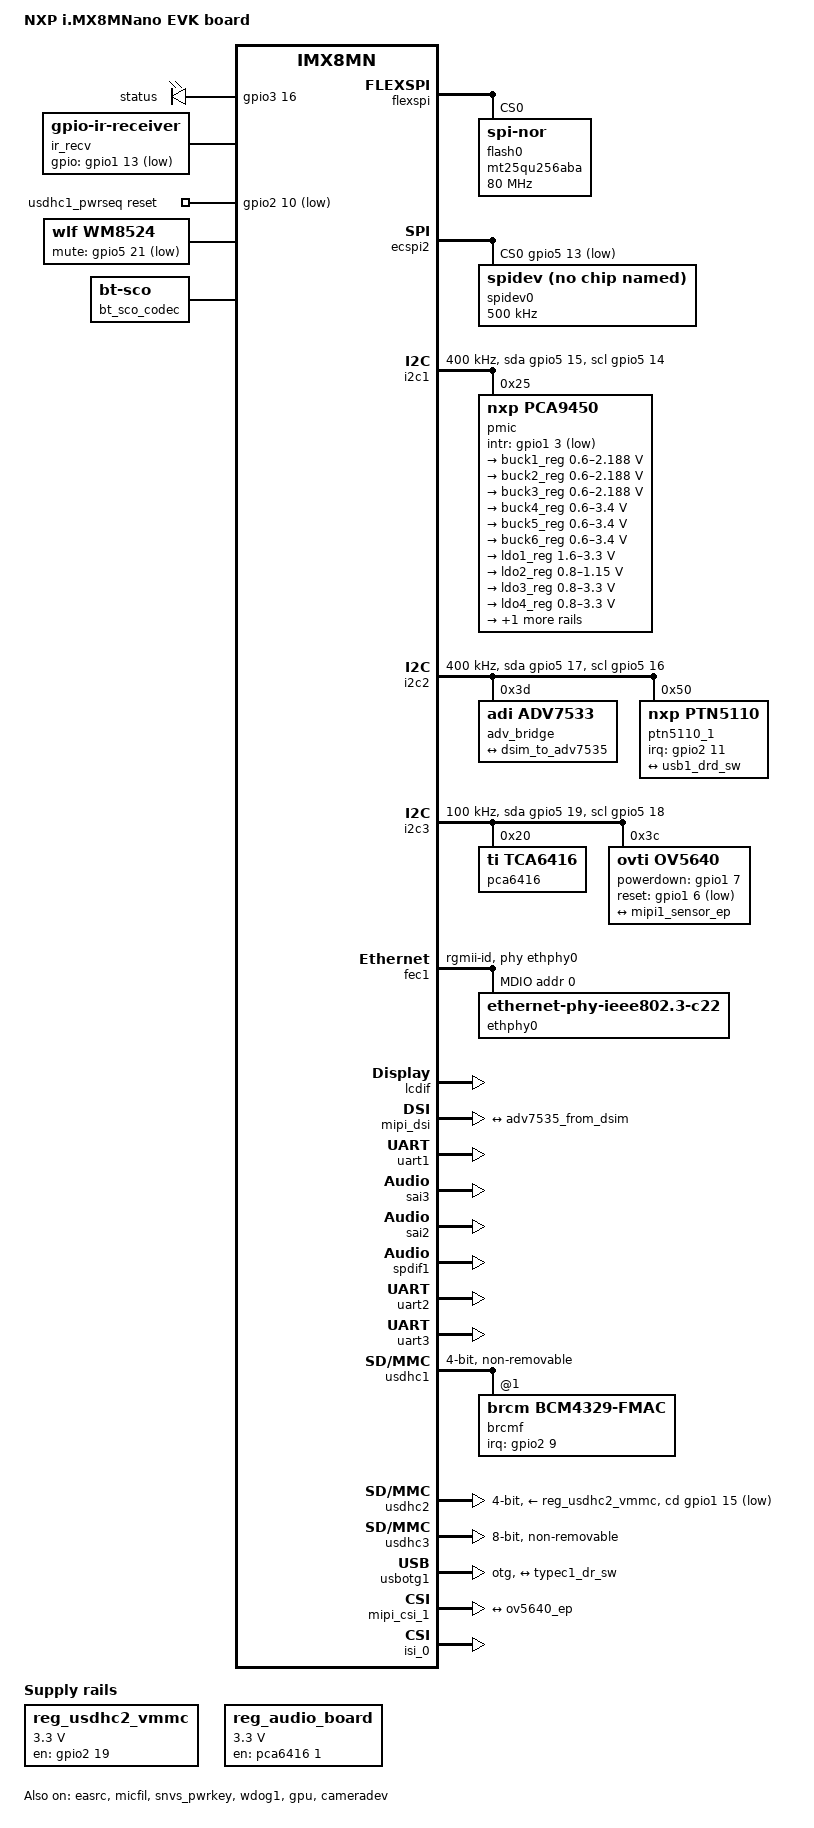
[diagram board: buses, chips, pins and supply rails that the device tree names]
/*
 * Copyright 2019 NXP
 *
 * This program is free software; you can redistribute it and/or
 * modify it under the terms of the GNU General Public License
 * as published by the Free Software Foundation; either version 2
 * of the License, or (at your option) any later version.
 *
 * This program is distributed in the hope that it will be useful,
 * but WITHOUT ANY WARRANTY; without even the implied warranty of
 * MERCHANTABILITY or FITNESS FOR A PARTICULAR PURPOSE.  See the
 * GNU General Public License for more details.
 */

/dts-v1/;

#include <dt-bindings/usb/pd.h>
#include "imx8mn.dtsi"

/ {
	trusty {
		compatible = "android,trusty-smc-v1";
		ranges;
		#address-cells = <2>;
		#size-cells = <2>;
		trusty-irq {
			compatible = "android,trusty-irq-v1";
			interrupt-templates = <&trusty_ipi 0>;
			interrupt-ranges = < 0 15 0>;
		};
		trusty-virtio {
			compatible = "android,trusty-virtio-v1";
		};
		trusty-log {
			compatible = "android,trusty-log-v1";
		};
	};
	trusty_ipi: interrupt-controller@0 {
		compatible = "android,CustomIPI";
		interrupt-controller;
		#interrupt-cells = <1>;
	};
};

/ {
	model = "NXP i.MX8MNano EVK board";
	compatible = "fsl,imx8mn-evk", "fsl,imx8mn";

	chosen {
		bootargs = "console=ttymxc1,115200 earlycon=ec_imx6q,0x30890000,115200";
		stdout-path = &uart2;
	};

	leds {
		compatible = "gpio-leds";
		pinctrl-names = "default";
		pinctrl-0 = <&pinctrl_gpio_led>;

		status {
			label = "status";
			gpios = <&gpio3 16 GPIO_ACTIVE_HIGH>;
			default-state = "on";
		};
	};

	ir_recv: ir-receiver {
		compatible = "gpio-ir-receiver";
		gpios = <&gpio1 13 GPIO_ACTIVE_LOW>;
		pinctrl-names = "default";
		pinctrl-0 = <&pinctrl_ir_recv>;
	};

	usdhc1_pwrseq: usdhc1_pwrseq {
		compatible = "mmc-pwrseq-simple";
		pinctrl-names = "default";
		pinctrl-0 = <&pinctrl_usdhc1_gpio>;
		reset-gpios = <&gpio2 10 GPIO_ACTIVE_LOW>;
	};

	regulators {
		compatible = "simple-bus";
		#address-cells = <1>;
		#size-cells = <0>;

		reg_usdhc2_vmmc: regulator-usdhc2 {
			compatible = "regulator-fixed";
			regulator-name = "VSD_3V3";
			regulator-min-microvolt = <3300000>;
			regulator-max-microvolt = <3300000>;
			gpio = <&gpio2 19 GPIO_ACTIVE_HIGH>;
			enable-active-high;
			startup-delay-us = <100>;
			off-on-delay-us = <12000>;
		};

		reg_audio_board: regulator-audio-board {
			compatible = "regulator-fixed";
			regulator-name = "EXT_PWREN";
			regulator-min-microvolt = <3300000>;
			regulator-max-microvolt = <3300000>;
			enable-active-high;
			startup-delay-us = <300000>;
			gpio = <&pca6416 1 GPIO_ACTIVE_HIGH>;
			regulator-always-on;
		};
	};

	wm8524: wm8524 {
		compatible = "wlf,wm8524";
		clocks = <&clk IMX8MN_CLK_SAI3_ROOT>;
		clock-names = "mclk";
		wlf,mute-gpios = <&gpio5 21 GPIO_ACTIVE_LOW>;
	};

	bt_sco_codec: bt_sco_codec {
		#sound-dai-cells = <1>;
		compatible = "linux,bt-sco";
	};

	sound-bt-sco {
		compatible = "simple-audio-card";
		simple-audio-card,name = "bt-sco-audio";
		simple-audio-card,format = "dsp_a";
		simple-audio-card,bitclock-inversion;
		simple-audio-card,frame-master = <&btcpu>;
		simple-audio-card,bitclock-master = <&btcpu>;

		btcpu: simple-audio-card,cpu {
			sound-dai = <&sai2>;
			dai-tdm-slot-num = <2>;
			dai-tdm-slot-width = <16>;
		};

		simple-audio-card,codec {
			sound-dai = <&bt_sco_codec 1>;
		};
	};

	sound-wm8524 {
		compatible = "fsl,imx-audio-wm8524";
		model = "wm8524-audio";
		audio-cpu = <&sai3>;
		audio-codec = <&wm8524>;
		audio-routing =
			"Line Out Jack", "LINEVOUTL",
			"Line Out Jack", "LINEVOUTR";
		asrc-controller = <&easrc>;
	};

	sound-micfil {
		compatible = "fsl,imx-audio-micfil";
		model = "imx-audio-micfil";
		cpu-dai = <&micfil>;
	};

	sound-spdif {
		compatible = "fsl,imx-audio-spdif";
		model = "imx-spdif";
		spdif-controller = <&spdif1>;
		spdif-out;
		spdif-in;
	};

	sound-ak5558 {
		compatible = "fsl,imx-audio-ak5558";
		model = "ak5558-audio";
		audio-cpu = <&sai5>;
		audio-codec = <&ak5558>;
		status = "disabled";
	};
};

&A53_0 {
	cpu-supply = <&buck2_reg>;
};

&clk {
	assigned-clocks = <&clk IMX8MN_AUDIO_PLL1>, <&clk IMX8MN_AUDIO_PLL2>;
	assigned-clock-rates = <393216000>, <361267200>;
};

&easrc {
	fsl,asrc-rate  = <48000>;
	status = "okay";
};

&iomuxc {
	pinctrl-names = "default";
	pinctrl-0 = <&pinctrl_hog_1>;

	imx8mn-evk {
		pinctrl_hog_1: hoggrp-1 {
			fsl,pins = <
				MX8MN_IOMUXC_GPIO1_IO08_GPIO1_IO8		0x16
			>;
		};

		pinctrl_ir_recv: ir-recv {
			fsl,pins = <
				MX8MN_IOMUXC_GPIO1_IO13_GPIO1_IO13		0x4f
			>;
		};

		pinctrl_fec1: fec1grp {
			fsl,pins = <
				MX8MN_IOMUXC_ENET_MDC_ENET1_MDC		0x3
				MX8MN_IOMUXC_ENET_MDIO_ENET1_MDIO	0x3
				MX8MN_IOMUXC_ENET_TD3_ENET1_RGMII_TD3	0x1f
				MX8MN_IOMUXC_ENET_TD2_ENET1_RGMII_TD2	0x1f
				MX8MN_IOMUXC_ENET_TD1_ENET1_RGMII_TD1	0x1f
				MX8MN_IOMUXC_ENET_TD0_ENET1_RGMII_TD0	0x1f
				MX8MN_IOMUXC_ENET_RD3_ENET1_RGMII_RD3	0x91
				MX8MN_IOMUXC_ENET_RD2_ENET1_RGMII_RD2	0x91
				MX8MN_IOMUXC_ENET_RD1_ENET1_RGMII_RD1	0x91
				MX8MN_IOMUXC_ENET_RD0_ENET1_RGMII_RD0	0x91
				MX8MN_IOMUXC_ENET_TXC_ENET1_RGMII_TXC	0x1f
				MX8MN_IOMUXC_ENET_RXC_ENET1_RGMII_RXC	0x91
				MX8MN_IOMUXC_ENET_RX_CTL_ENET1_RGMII_RX_CTL	0x91
				MX8MN_IOMUXC_ENET_TX_CTL_ENET1_RGMII_TX_CTL	0x1f
				MX8MN_IOMUXC_SAI2_RXC_GPIO4_IO22	0x19
			>;
		};

		pinctrl_flexspi0: flexspi0grp {
			fsl,pins = <
				MX8MN_IOMUXC_NAND_ALE_QSPI_A_SCLK 0x1c4
				MX8MN_IOMUXC_NAND_CE0_B_QSPI_A_SS0_B 0x84

				MX8MN_IOMUXC_NAND_DATA00_QSPI_A_DATA0 0x84
				MX8MN_IOMUXC_NAND_DATA01_QSPI_A_DATA1 0x84
				MX8MN_IOMUXC_NAND_DATA02_QSPI_A_DATA2 0x84
				MX8MN_IOMUXC_NAND_DATA03_QSPI_A_DATA3 0x84
			>;
		};

		pinctrl_gpio_led: gpioledgrp {
			fsl,pins = <
				MX8MN_IOMUXC_NAND_READY_B_GPIO3_IO16	0x19
			>;
		};

		pinctrl_ecspi2: ecspi2grp {
			fsl,pins = <
				MX8MN_IOMUXC_ECSPI2_SCLK_ECSPI2_SCLK		0x82
				MX8MN_IOMUXC_ECSPI2_MOSI_ECSPI2_MOSI		0x82
				MX8MN_IOMUXC_ECSPI2_MISO_ECSPI2_MISO		0x82
			>;
		};

		pinctrl_ecspi2_cs: ecspi2cs {
			fsl,pins = <
				MX8MN_IOMUXC_ECSPI2_SS0_GPIO5_IO13		0x40000
			>;
		};

		pinctrl_i2c1: i2c1grp {
			fsl,pins = <
				MX8MN_IOMUXC_I2C1_SCL_I2C1_SCL			0x400001c3
				MX8MN_IOMUXC_I2C1_SDA_I2C1_SDA			0x400001c3
			>;
		};

		pinctrl_i2c2: i2c2grp {
			fsl,pins = <
				MX8MN_IOMUXC_I2C2_SCL_I2C2_SCL			0x400001c3
				MX8MN_IOMUXC_I2C2_SDA_I2C2_SDA			0x400001c3
			>;
		};

		pinctrl_i2c3: i2c3grp {
			fsl,pins = <
				MX8MN_IOMUXC_I2C3_SCL_I2C3_SCL			0x400001c3
				MX8MN_IOMUXC_I2C3_SDA_I2C3_SDA			0x400001c3
			>;
		};

		pinctrl_i2c1_gpio: i2c1grp-gpio {
			fsl,pins = <
				MX8MN_IOMUXC_I2C1_SCL_GPIO5_IO14		0x1c3
				MX8MN_IOMUXC_I2C1_SDA_GPIO5_IO15		0x1c3
			>;
		};

		pinctrl_i2c2_gpio: i2c2grp-gpio {
			fsl,pins = <
				MX8MN_IOMUXC_I2C2_SCL_GPIO5_IO16		0x1c3
				MX8MN_IOMUXC_I2C2_SDA_GPIO5_IO17		0x1c3
			>;
		};

		pinctrl_i2c3_gpio: i2c3grp-gpio {
			fsl,pins = <
				MX8MN_IOMUXC_I2C3_SCL_GPIO5_IO18		0x1c3
				MX8MN_IOMUXC_I2C3_SDA_GPIO5_IO19		0x1c3
			>;
		};

		pinctrl_pdm: pdmgrp {
			fsl,pins = <
				MX8MN_IOMUXC_SAI5_MCLK_SAI5_MCLK	0xd6
				MX8MN_IOMUXC_SAI5_RXC_PDM_CLK		0xd6
				MX8MN_IOMUXC_SAI5_RXFS_SAI5_RX_SYNC	0xd6
				MX8MN_IOMUXC_SAI5_RXD0_PDM_BIT_STREAM0	0xd6
				MX8MN_IOMUXC_SAI5_RXD1_PDM_BIT_STREAM1	0xd6
				MX8MN_IOMUXC_SAI5_RXD2_PDM_BIT_STREAM2	0xd6
				MX8MN_IOMUXC_SAI5_RXD3_PDM_BIT_STREAM3	0xd6
			>;
		};

		pinctrl_pmic: pmicirq {
			fsl,pins = <
				MX8MN_IOMUXC_GPIO1_IO03_GPIO1_IO3	0x41
			>;
		};

		pinctrl_sai2: sai2grp {
			fsl,pins = <
				MX8MN_IOMUXC_SAI2_TXC_SAI2_TX_BCLK      0xd6
				MX8MN_IOMUXC_SAI2_TXFS_SAI2_TX_SYNC     0xd6
				MX8MN_IOMUXC_SAI2_TXD0_SAI2_TX_DATA0    0xd6
				MX8MN_IOMUXC_SAI2_RXD0_SAI2_RX_DATA0    0xd6
			>;
		};

		pinctrl_sai3: sai3grp {
			fsl,pins = <
				MX8MN_IOMUXC_SAI3_TXFS_SAI3_TX_SYNC     0xd6
				MX8MN_IOMUXC_SAI3_TXC_SAI3_TX_BCLK      0xd6
				MX8MN_IOMUXC_SAI3_MCLK_SAI3_MCLK        0xd6
				MX8MN_IOMUXC_SAI3_TXD_SAI3_TX_DATA0     0xd6
				MX8MN_IOMUXC_I2C4_SDA_GPIO5_IO21        0xd6
			>;
		};

		pinctrl_sai5: sai5grp {
			fsl,pins = <
				MX8MN_IOMUXC_SAI5_MCLK_SAI5_MCLK	0xd6
				MX8MN_IOMUXC_SAI5_RXC_SAI5_RX_BCLK	0xd6
				MX8MN_IOMUXC_SAI5_RXFS_SAI5_RX_SYNC	0xd6
				MX8MN_IOMUXC_SAI5_RXD0_SAI5_RX_DATA0	0xd6
				MX8MN_IOMUXC_SAI5_RXD1_SAI5_RX_DATA1    0xd6
				MX8MN_IOMUXC_SAI5_RXD2_SAI5_RX_DATA2    0xd6
				MX8MN_IOMUXC_SAI5_RXD3_SAI5_RX_DATA3    0xd6
			>;
		};

		pinctrl_spdif1: spdif1grp {
			fsl,pins = <
				MX8MN_IOMUXC_SPDIF_TX_SPDIF1_OUT	0xd6
				MX8MN_IOMUXC_SPDIF_RX_SPDIF1_IN		0xd6
			>;
		};

		pinctrl_uart1: uart1grp {
			fsl,pins = <
				MX8MN_IOMUXC_UART1_RXD_UART1_DCE_RX	0x140
				MX8MN_IOMUXC_UART1_TXD_UART1_DCE_TX	0x140
				MX8MN_IOMUXC_UART3_RXD_UART1_DCE_CTS_B	0x140
				MX8MN_IOMUXC_UART3_TXD_UART1_DCE_RTS_B	0x140
				MX8MN_IOMUXC_SD1_DATA4_GPIO2_IO6	0x19
			>;
		};

		pinctrl_uart2: uart2grp {
			fsl,pins = <
				MX8MN_IOMUXC_UART2_RXD_UART2_DCE_RX	0x140
				MX8MN_IOMUXC_UART2_TXD_UART2_DCE_TX	0x140
			>;
		};

		pinctrl_uart3: uart3grp {
			fsl,pins = <
				MX8MN_IOMUXC_ECSPI1_SCLK_UART3_DCE_RX		0x140
				MX8MN_IOMUXC_ECSPI1_MOSI_UART3_DCE_TX		0x140
				MX8MN_IOMUXC_ECSPI1_SS0_UART3_DCE_RTS_B		0x140
				MX8MN_IOMUXC_ECSPI1_MISO_UART3_DCE_CTS_B	0x140
			>;
		};

		pinctrl_typec1: typec1grp {
			fsl,pins = <
				MX8MN_IOMUXC_SD1_STROBE_GPIO2_IO11		0x159
			>;
		};

		pinctrl_usdhc1_gpio: usdhc1grpgpio {
			fsl,pins = <
				MX8MN_IOMUXC_SD1_RESET_B_GPIO2_IO10	0x41
			>;
		};

		pinctrl_usdhc1: usdhc1grp {
			fsl,pins = <
				MX8MN_IOMUXC_SD1_CLK_USDHC1_CLK		0x190
				MX8MN_IOMUXC_SD1_CMD_USDHC1_CMD		0x1d0
				MX8MN_IOMUXC_SD1_DATA0_USDHC1_DATA0	0x1d0
				MX8MN_IOMUXC_SD1_DATA1_USDHC1_DATA1	0x1d0
				MX8MN_IOMUXC_SD1_DATA2_USDHC1_DATA2	0x1d0
				MX8MN_IOMUXC_SD1_DATA3_USDHC1_DATA3	0x1d0
			>;
		};

		pinctrl_usdhc1_100mhz: usdhc1grp100mhz {
			fsl,pins = <
				MX8MN_IOMUXC_SD1_CLK_USDHC1_CLK		0x194
				MX8MN_IOMUXC_SD1_CMD_USDHC1_CMD		0x1d4
				MX8MN_IOMUXC_SD1_DATA0_USDHC1_DATA0	0x1d4
				MX8MN_IOMUXC_SD1_DATA1_USDHC1_DATA1	0x1d4
				MX8MN_IOMUXC_SD1_DATA2_USDHC1_DATA2	0x1d4
				MX8MN_IOMUXC_SD1_DATA3_USDHC1_DATA3	0x1d4
			>;
		};

		pinctrl_usdhc1_200mhz: usdhc1grp200mhz {
			fsl,pins = <
				MX8MN_IOMUXC_SD1_CLK_USDHC1_CLK		0x196
				MX8MN_IOMUXC_SD1_CMD_USDHC1_CMD		0x1d6
				MX8MN_IOMUXC_SD1_DATA0_USDHC1_DATA0	0x1d6
				MX8MN_IOMUXC_SD1_DATA1_USDHC1_DATA1	0x1d6
				MX8MN_IOMUXC_SD1_DATA2_USDHC1_DATA2	0x1d6
				MX8MN_IOMUXC_SD1_DATA3_USDHC1_DATA3	0x1d6
			>;
		};

		pinctrl_usdhc2_gpio: usdhc2grpgpio {
			fsl,pins = <
				MX8MN_IOMUXC_GPIO1_IO15_GPIO1_IO15	0x1c4
				MX8MN_IOMUXC_SD2_RESET_B_GPIO2_IO19	0x41
			>;
		};

		pinctrl_usdhc2: usdhc2grp {
			fsl,pins = <
				MX8MN_IOMUXC_SD2_CLK_USDHC2_CLK		0x190
				MX8MN_IOMUXC_SD2_CMD_USDHC2_CMD		0x1d0
				MX8MN_IOMUXC_SD2_DATA0_USDHC2_DATA0	0x1d0
				MX8MN_IOMUXC_SD2_DATA1_USDHC2_DATA1	0x1d0
				MX8MN_IOMUXC_SD2_DATA2_USDHC2_DATA2	0x1d0
				MX8MN_IOMUXC_SD2_DATA3_USDHC2_DATA3	0x1d0
				MX8MN_IOMUXC_GPIO1_IO04_USDHC2_VSELECT	0x1d0
			>;
		};

		pinctrl_usdhc2_100mhz: usdhc2grp100mhz {
			fsl,pins = <
				MX8MN_IOMUXC_SD2_CLK_USDHC2_CLK		0x194
				MX8MN_IOMUXC_SD2_CMD_USDHC2_CMD		0x1d4
				MX8MN_IOMUXC_SD2_DATA0_USDHC2_DATA0	0x1d4
				MX8MN_IOMUXC_SD2_DATA1_USDHC2_DATA1	0x1d4
				MX8MN_IOMUXC_SD2_DATA2_USDHC2_DATA2	0x1d4
				MX8MN_IOMUXC_SD2_DATA3_USDHC2_DATA3	0x1d4
				MX8MN_IOMUXC_GPIO1_IO04_USDHC2_VSELECT	0x1d0
			>;
		};

		pinctrl_usdhc2_200mhz: usdhc2grp200mhz {
			fsl,pins = <
				MX8MN_IOMUXC_SD2_CLK_USDHC2_CLK		0x196
				MX8MN_IOMUXC_SD2_CMD_USDHC2_CMD		0x1d6
				MX8MN_IOMUXC_SD2_DATA0_USDHC2_DATA0	0x1d6
				MX8MN_IOMUXC_SD2_DATA1_USDHC2_DATA1	0x1d6
				MX8MN_IOMUXC_SD2_DATA2_USDHC2_DATA2	0x1d6
				MX8MN_IOMUXC_SD2_DATA3_USDHC2_DATA3	0x1d6
				MX8MN_IOMUXC_GPIO1_IO04_USDHC2_VSELECT	0x1d0
			>;
		};

		pinctrl_usdhc3: usdhc3grp {
			fsl,pins = <
				MX8MN_IOMUXC_NAND_WE_B_USDHC3_CLK		0x190
				MX8MN_IOMUXC_NAND_WP_B_USDHC3_CMD		0x1d0
				MX8MN_IOMUXC_NAND_DATA04_USDHC3_DATA0		0x1d0
				MX8MN_IOMUXC_NAND_DATA05_USDHC3_DATA1		0x1d0
				MX8MN_IOMUXC_NAND_DATA06_USDHC3_DATA2		0x1d0
				MX8MN_IOMUXC_NAND_DATA07_USDHC3_DATA3		0x1d0
				MX8MN_IOMUXC_NAND_RE_B_USDHC3_DATA4		0x1d0
				MX8MN_IOMUXC_NAND_CE2_B_USDHC3_DATA5		0x1d0
				MX8MN_IOMUXC_NAND_CE3_B_USDHC3_DATA6		0x1d0
				MX8MN_IOMUXC_NAND_CLE_USDHC3_DATA7		0x1d0
				MX8MN_IOMUXC_NAND_CE1_B_USDHC3_STROBE 		0x190
			>;
		};

		pinctrl_usdhc3_100mhz: usdhc3grp100mhz {
			fsl,pins = <
				MX8MN_IOMUXC_NAND_WE_B_USDHC3_CLK		0x194
				MX8MN_IOMUXC_NAND_WP_B_USDHC3_CMD		0x1d4
				MX8MN_IOMUXC_NAND_DATA04_USDHC3_DATA0		0x1d4
				MX8MN_IOMUXC_NAND_DATA05_USDHC3_DATA1		0x1d4
				MX8MN_IOMUXC_NAND_DATA06_USDHC3_DATA2		0x1d4
				MX8MN_IOMUXC_NAND_DATA07_USDHC3_DATA3		0x1d4
				MX8MN_IOMUXC_NAND_RE_B_USDHC3_DATA4		0x1d4
				MX8MN_IOMUXC_NAND_CE2_B_USDHC3_DATA5		0x1d4
				MX8MN_IOMUXC_NAND_CE3_B_USDHC3_DATA6		0x1d4
				MX8MN_IOMUXC_NAND_CLE_USDHC3_DATA7		0x1d4
				MX8MN_IOMUXC_NAND_CE1_B_USDHC3_STROBE 		0x194
			>;
		};

		pinctrl_usdhc3_200mhz: usdhc3grp200mhz {
			fsl,pins = <
				MX8MN_IOMUXC_NAND_WE_B_USDHC3_CLK		0x196
				MX8MN_IOMUXC_NAND_WP_B_USDHC3_CMD		0x1d6
				MX8MN_IOMUXC_NAND_DATA04_USDHC3_DATA0		0x1d6
				MX8MN_IOMUXC_NAND_DATA05_USDHC3_DATA1		0x1d6
				MX8MN_IOMUXC_NAND_DATA06_USDHC3_DATA2		0x1d6
				MX8MN_IOMUXC_NAND_DATA07_USDHC3_DATA3		0x1d6
				MX8MN_IOMUXC_NAND_RE_B_USDHC3_DATA4		0x1d6
				MX8MN_IOMUXC_NAND_CE2_B_USDHC3_DATA5		0x1d6
				MX8MN_IOMUXC_NAND_CE3_B_USDHC3_DATA6		0x1d6
				MX8MN_IOMUXC_NAND_CLE_USDHC3_DATA7		0x1d6
				MX8MN_IOMUXC_NAND_CE1_B_USDHC3_STROBE 		0x196
			>;
		};

		pinctrl_wdog: wdoggrp {
			fsl,pins = <
				MX8MN_IOMUXC_GPIO1_IO02_WDOG1_WDOG_B		0xc6
			>;
		};

		pinctrl_wlan: wlangrp {
			fsl,pins = <
				MX8MN_IOMUXC_GPIO1_IO00_ANAMIX_REF_CLK_32K	0x141
				MX8MN_IOMUXC_SD1_DATA7_GPIO2_IO9		0x111
			>;
		};

		pinctrl_mipi_dsi_en: mipi_dsi_en {
			fsl,pins = <
				MX8MN_IOMUXC_GPIO1_IO08_GPIO1_IO8		0x16
			>;
		};

		pinctrl_i2c2_synaptics_dsx_io: synaptics_dsx_iogrp {
			fsl,pins = <
				MX8MN_IOMUXC_GPIO1_IO09_GPIO1_IO9		0x19
			>;
		};

		pinctrl_csi_pwn: csi_pwn_grp {
			fsl,pins = <
				MX8MN_IOMUXC_GPIO1_IO07_GPIO1_IO7		0x19
			>;
		};

		pinctrl_csi_rst: csi_rst_grp {
			fsl,pins = <
				MX8MN_IOMUXC_GPIO1_IO06_GPIO1_IO6		0x19
				MX8MN_IOMUXC_GPIO1_IO14_CCMSRCGPCMIX_CLKO1	0x59
			>;
		};
	};
};

&flexspi {
	pinctrl-names = "default";
	pinctrl-0 = <&pinctrl_flexspi0>;
	status = "okay";

	flash0: mt25qu256aba@0 {
		reg = <0>;
		#address-cells = <1>;
		#size-cells = <1>;
		compatible = "jedec,spi-nor";
		spi-max-frequency = <80000000>;
		spi-tx-bus-width = <4>;
		spi-rx-bus-width = <4>;
	};
};

&ecspi2 {
	#address-cells = <1>;
	#size-cells = <0>;
	fsl,spi-num-chipselects = <1>;
	pinctrl-names = "default";
	pinctrl-0 = <&pinctrl_ecspi2 &pinctrl_ecspi2_cs>;
	cs-gpios = <&gpio5 13 GPIO_ACTIVE_LOW>;
	status = "okay";

	spidev0: spi@0 {
		reg = <0>;
		compatible = "rohm,dh2228fv";
		spi-max-frequency = <500000>;
	};
};

&i2c1 {
	clock-frequency = <400000>;
	pinctrl-names = "default", "gpio";
	pinctrl-0 = <&pinctrl_i2c1>;
	pinctrl-1 = <&pinctrl_i2c1_gpio>;
	scl-gpios = <&gpio5 14 GPIO_ACTIVE_HIGH>;
	sda-gpios = <&gpio5 15 GPIO_ACTIVE_HIGH>;
	status = "okay";

	pmic: pca9450@25 {
		reg = <0x25>;
		compatible = "nxp,pca9450";
		/* PMIC PCA9450 PMIC_nINT GPIO1_IO3 */
		pinctrl-0 = <&pinctrl_pmic>;
		gpio_intr = <&gpio1 3 GPIO_ACTIVE_LOW>;

		regulators {
			#address-cells = <1>;
			#size-cells = <0>;

			pca9450,pmic-buck2-uses-i2c-dvs;
			/* Run/Standby voltage */
			pca9450,pmic-buck2-dvs-voltage = <950000>, <850000>;

			buck1_reg: regulator@0 {
				reg = <0>;
				regulator-compatible = "buck1";
				regulator-min-microvolt = <600000>;
				regulator-max-microvolt = <2187500>;
				regulator-boot-on;
				regulator-always-on;
				regulator-ramp-delay = <3125>;
			};

			buck2_reg: regulator@1 {
				reg = <1>;
				regulator-compatible = "buck2";
				regulator-min-microvolt = <600000>;
				regulator-max-microvolt = <2187500>;
				regulator-boot-on;
				regulator-always-on;
				regulator-ramp-delay = <3125>;
			};

			buck3_reg: regulator@2 {
				reg = <2>;
				regulator-compatible = "buck3";
				regulator-min-microvolt = <600000>;
				regulator-max-microvolt = <2187500>;
				regulator-boot-on;
				regulator-always-on;
			};

			buck4_reg: regulator@3 {
				reg = <3>;
				regulator-compatible = "buck4";
				regulator-min-microvolt = <600000>;
				regulator-max-microvolt = <3400000>;
				regulator-boot-on;
				regulator-always-on;
			};

			buck5_reg: regulator@4 {
				reg = <4>;
				regulator-compatible = "buck5";
				regulator-min-microvolt = <600000>;
				regulator-max-microvolt = <3400000>;
				regulator-boot-on;
				regulator-always-on;
			};

			buck6_reg: regulator@5 {
				reg = <5>;
				regulator-compatible = "buck6";
				regulator-min-microvolt = <600000>;
				regulator-max-microvolt = <3400000>;
				regulator-boot-on;
				regulator-always-on;
			};

			ldo1_reg: regulator@6 {
				reg = <6>;
				regulator-compatible = "ldo1";
				regulator-min-microvolt = <1600000>;
				regulator-max-microvolt = <3300000>;
				regulator-boot-on;
				regulator-always-on;
			};

			ldo2_reg: regulator@7 {
				reg = <7>;
				regulator-compatible = "ldo2";
				regulator-min-microvolt = <800000>;
				regulator-max-microvolt = <1150000>;
				regulator-boot-on;
				regulator-always-on;
			};

			ldo3_reg: regulator@8 {
				reg = <8>;
				regulator-compatible = "ldo3";
				regulator-min-microvolt = <800000>;
				regulator-max-microvolt = <3300000>;
				regulator-boot-on;
				regulator-always-on;
			};

			ldo4_reg: regulator@9 {
				reg = <9>;
				regulator-compatible = "ldo4";
				regulator-min-microvolt = <800000>;
				regulator-max-microvolt = <3300000>;
				regulator-boot-on;
				regulator-always-on;
			};

			ldo5_reg: regulator@10 {
				reg = <10>;
				regulator-compatible = "ldo5";
				regulator-min-microvolt = <1800000>;
				regulator-max-microvolt = <3300000>;
			};
		};
	};
};

&i2c2 {
	clock-frequency = <400000>;
	pinctrl-names = "default", "gpio";
	pinctrl-0 = <&pinctrl_i2c2>;
	pinctrl-1 = <&pinctrl_i2c2_gpio>;
	scl-gpios = <&gpio5 16 GPIO_ACTIVE_HIGH>;
	sda-gpios = <&gpio5 17 GPIO_ACTIVE_HIGH>;
	status = "okay";

	adv_bridge: adv7535@3d {
		compatible = "adi,adv7533";
		reg = <0x3d>;
		adi,addr-cec = <0x3b>;
		adi,dsi-lanes = <4>;
		status = "okay";

		port {
			adv7535_from_dsim: endpoint {
				remote-endpoint = <&dsim_to_adv7535>;
			};
		};
	};

	ptn5110_1: tcpc@50 {
		compatible = "nxp,ptn5110";
		pinctrl-names = "default";
		pinctrl-0 = <&pinctrl_typec1>;
		reg = <0x50>;
		interrupt-parent = <&gpio2>;
		interrupts = <11 8>;
		status = "okay";

		port {
			typec1_dr_sw: endpoint {
				remote-endpoint = <&usb1_drd_sw>;
			};
		};

		typec1_con: connector {
			compatible = "usb-c-connector";
			label = "USB-C";
			power-role = "dual";
			data-role = "dual";
			try-power-role = "sink";
			source-pdos = <PDO_FIXED(5000, 3000, PDO_FIXED_USB_COMM)>;
			sink-pdos = <PDO_FIXED(5000, 3000, PDO_FIXED_USB_COMM)
				     PDO_VAR(5000, 20000, 3000)>;
			op-sink-microwatt = <15000000>;
			self-powered;
		};
	};
};

&i2c3 {
	clock-frequency = <100000>;
	pinctrl-names = "default", "gpio";
	pinctrl-0 = <&pinctrl_i2c3>;
	pinctrl-1 = <&pinctrl_i2c3_gpio>;
	scl-gpios = <&gpio5 18 GPIO_ACTIVE_HIGH>;
	sda-gpios = <&gpio5 19 GPIO_ACTIVE_HIGH>;
	status = "okay";

	pca6416: gpio@20 {
		compatible = "ti,tca6416";
		reg = <0x20>;
		gpio-controller;
		#gpio-cells = <2>;
	};

	ak4458_1: ak4458@10 {
		compatible = "asahi-kasei,ak4458";
		reg = <0x10>;
		AVDD-supply = <&reg_audio_board>;
		DVDD-supply = <&reg_audio_board>;
		status = "disabled";
	};

	ak4458_2: ak4458@12 {
		compatible = "asahi-kasei,ak4458";
		reg = <0x12>;
		AVDD-supply = <&reg_audio_board>;
		DVDD-supply = <&reg_audio_board>;
		status = "disabled";
	};

	ak5558: ak5558@13 {
		compatible = "asahi-kasei,ak5558";
		reg = <0x13>;
		ak5558,pdn-gpio = <&pca6416 3 GPIO_ACTIVE_HIGH>;
		AVDD-supply = <&reg_audio_board>;
		DVDD-supply = <&reg_audio_board>;
		status = "disabled";
	};

	ak4497: ak4497@11 {
		compatible = "asahi-kasei,ak4497";
		reg = <0x11>;
		ak4497,pdn-gpio = <&pca6416 5 GPIO_ACTIVE_HIGH>;
		AVDD-supply = <&reg_audio_board>;
		DVDD-supply = <&reg_audio_board>;
		status = "disabled";
	};

	ov5640: ov5640_mipi@3c {
		compatible = "ovti,ov5640";
		reg = <0x3c>;
		pinctrl-names = "default";
		pinctrl-0 = <&pinctrl_csi_pwn>, <&pinctrl_csi_rst>;
		clocks = <&clk IMX8MN_CLK_CLKO1>;
		clock-names = "xclk";
		assigned-clocks = <&clk IMX8MN_CLK_CLKO1>;
		assigned-clock-parents = <&clk IMX8MN_CLK_24M>;
		assigned-clock-rates = <24000000>;
		csi_id = <0>;
		powerdown-gpios = <&gpio1 7 GPIO_ACTIVE_HIGH>;
		reset-gpios = <&gpio1 6 GPIO_ACTIVE_LOW>;
		mclk = <24000000>;
		mclk_source = <0>;
		mipi_csi;
		status = "okay";
		port {
			ov5640_ep: endpoint {
				remote-endpoint = <&mipi1_sensor_ep>;
				data-lanes = <1 2>;
				clocks-lanes = <0>;
			};
		};
	};
};

&fec1 {
	pinctrl-names = "default";
	pinctrl-0 = <&pinctrl_fec1>;
	phy-mode = "rgmii-id";
	phy-handle = <&ethphy0>;
	fsl,magic-packet;
	status = "okay";

	mdio {
		#address-cells = <1>;
		#size-cells = <0>;

		ethphy0: ethernet-phy@0 {
			compatible = "ethernet-phy-ieee802.3-c22";
			reg = <0>;
			at803x,led-act-blind-workaround;
			at803x,eee-disabled;
			at803x,vddio-1p8v;
		};
	};
};

&lcdif {
	status = "okay";
};

&mipi_dsi {
	status = "okay";

	port@1 {
		dsim_to_adv7535: endpoint {
			remote-endpoint = <&adv7535_from_dsim>;
			attach-bridge;
		};
	};
};

&uart1 { /* BT */
	pinctrl-names = "default";
	pinctrl-0 = <&pinctrl_uart1>;
	assigned-clocks = <&clk IMX8MN_CLK_UART1>;
	assigned-clock-parents = <&clk IMX8MN_SYS_PLL1_80M>;
	fsl,uart-has-rtscts;
	status = "okay";
};

&micfil {
	pinctrl-names = "default";
	pinctrl-0 = <&pinctrl_pdm>;
	assigned-clocks = <&clk IMX8MN_CLK_PDM>;
	assigned-clock-parents = <&clk IMX8MN_AUDIO_PLL1_OUT>;
	assigned-clock-rates = <196608000>;
	status = "okay";
};

&sai3 {
	pinctrl-names = "default";
	pinctrl-0 = <&pinctrl_sai3>;
	assigned-clocks = <&clk IMX8MN_CLK_SAI3>;
	assigned-clock-parents = <&clk IMX8MN_AUDIO_PLL1_OUT>;
	assigned-clock-rates = <24576000>;
	status = "okay";
};

&sai2 {
	#sound-dai-cells = <0>;
	pinctrl-names = "default";
	pinctrl-0 = <&pinctrl_sai2>;
	assigned-clocks = <&clk IMX8MN_CLK_SAI2>;
	assigned-clock-parents = <&clk IMX8MN_AUDIO_PLL1_OUT>;
	assigned-clock-rates = <24576000>;
	status = "okay";
};

&sai5 {
	pinctrl-names = "default";
	pinctrl-0 = <&pinctrl_sai5>;
	assigned-clocks = <&clk IMX8MN_CLK_SAI5>;
	assigned-clock-parents = <&clk IMX8MN_AUDIO_PLL1_OUT>;
	assigned-clock-rates = <49152000>;
	clocks = <&clk IMX8MN_CLK_SAI5_IPG>, <&clk IMX8MN_CLK_DUMMY>,
		<&clk IMX8MN_CLK_SAI5_ROOT>, <&clk IMX8MN_CLK_DUMMY>,
		<&clk IMX8MN_CLK_DUMMY>, <&clk IMX8MN_AUDIO_PLL1_OUT>,
		<&clk IMX8MN_AUDIO_PLL2_OUT>;
	clock-names = "bus", "mclk0", "mclk1", "mclk2", "mclk3", "pll8k", "pll11k";
	fsl,sai-asynchronous;
	status = "disabled";
};

&spdif1 {
	pinctrl-names = "default";
	pinctrl-0 = <&pinctrl_spdif1>;
	assigned-clocks = <&clk IMX8MN_CLK_SPDIF1>;
	assigned-clock-parents = <&clk IMX8MN_AUDIO_PLL1_OUT>;
	assigned-clock-rates = <24576000>;
	clocks = <&clk IMX8MN_CLK_AUDIO_AHB>, <&clk IMX8MN_CLK_24M>,
		<&clk IMX8MN_CLK_SPDIF1>, <&clk IMX8MN_CLK_DUMMY>,
		<&clk IMX8MN_CLK_DUMMY>, <&clk IMX8MN_CLK_DUMMY>,
		<&clk IMX8MN_CLK_AUDIO_AHB>, <&clk IMX8MN_CLK_DUMMY>,
		<&clk IMX8MN_CLK_DUMMY>, <&clk IMX8MN_CLK_DUMMY>,
		<&clk IMX8MN_AUDIO_PLL1_OUT>, <&clk IMX8MN_AUDIO_PLL2_OUT>;
	clock-names = "core", "rxtx0", "rxtx1", "rxtx2", "rxtx3",
		"rxtx4", "rxtx5", "rxtx6", "rxtx7", "spba", "pll8k", "pll11k";
	status = "okay";
};

&snvs_pwrkey {
	status = "okay";
};

&uart2 { /* console */
	pinctrl-names = "default";
	pinctrl-0 = <&pinctrl_uart2>;
	status = "okay";
};

&uart3 {
	pinctrl-names = "default";
	pinctrl-0 = <&pinctrl_uart3>;
	assigned-clocks = <&clk IMX8MN_CLK_UART3>;
	assigned-clock-parents = <&clk IMX8MN_SYS_PLL1_80M>;
	fsl,uart-has-rtscts;
	status = "okay";
};

&usdhc1 {
	#address-cells = <1>;
	#size-cells = <0>;
	pinctrl-names = "default", "state_100mhz", "state_200mhz";
	pinctrl-0 = <&pinctrl_usdhc1>, <&pinctrl_wlan>;
	pinctrl-1 = <&pinctrl_usdhc1_100mhz>, <&pinctrl_wlan>;
	pinctrl-2 = <&pinctrl_usdhc1_200mhz>, <&pinctrl_wlan>;
	bus-width = <4>;
	pm-ignore-notify;
	keep-power-in-suspend;
	non-removable;
	cap-power-off-card;
	/delete-property/ vmmc-supply;
	mmc-pwrseq = <&usdhc1_pwrseq>;
	status = "okay";

	brcmf: bcrmf@1 {
		reg = <1>;
		compatible = "brcm,bcm4329-fmac";
		interrupt-parent = <&gpio2>;
		interrupts = <9 IRQ_TYPE_LEVEL_HIGH>;
		interrupt-names = "host-wake";
	};
};

&usdhc2 {
	pinctrl-names = "default", "state_100mhz", "state_200mhz";
	pinctrl-0 = <&pinctrl_usdhc2>, <&pinctrl_usdhc2_gpio>;
	pinctrl-1 = <&pinctrl_usdhc2_100mhz>, <&pinctrl_usdhc2_gpio>;
	pinctrl-2 = <&pinctrl_usdhc2_200mhz>, <&pinctrl_usdhc2_gpio>;
	cd-gpios = <&gpio1 15 GPIO_ACTIVE_LOW>;
	bus-width = <4>;
	vmmc-supply = <&reg_usdhc2_vmmc>;
	status = "okay";
};

&usdhc3 {
	pinctrl-names = "default", "state_100mhz", "state_200mhz";
	pinctrl-0 = <&pinctrl_usdhc3>;
	pinctrl-1 = <&pinctrl_usdhc3_100mhz>;
	pinctrl-2 = <&pinctrl_usdhc3_200mhz>;
	bus-width = <8>;
	non-removable;
	status = "okay";
};

&wdog1 {
	pinctrl-names = "default";
	pinctrl-0 = <&pinctrl_wdog>;
	fsl,ext-reset-output;
	status = "okay";
};

&usbotg1 {
	picophy,pre-emp-curr-control = <3>;
	picophy,dc-vol-level-adjust = <7>;
	dr_mode = "otg";
	hnp-disable;
	srp-disable;
	adp-disable;
	usb-role-switch;
	status = "okay";

	port {
		usb1_drd_sw: endpoint {
			remote-endpoint = <&typec1_dr_sw>;
		};
	};
};

&gpu {
	status = "okay";
};

&mipi_csi_1 {
	#address-cells = <1>;
	#size-cells = <0>;
	status = "okay";
	port@0 {
		reg = <0>;
		mipi1_sensor_ep: endpoint {
			remote-endpoint = <&ov5640_ep>;
			data-lanes = <2>;
			csis-hs-settle = <13>;
			csis-clk-settle = <2>;
			csis-wclk;
		};
	};
};

&isi_0 {
	status = "okay";
	cap_device {
		status = "okay";
	};
};

&cameradev {
	status = "okay";
};
